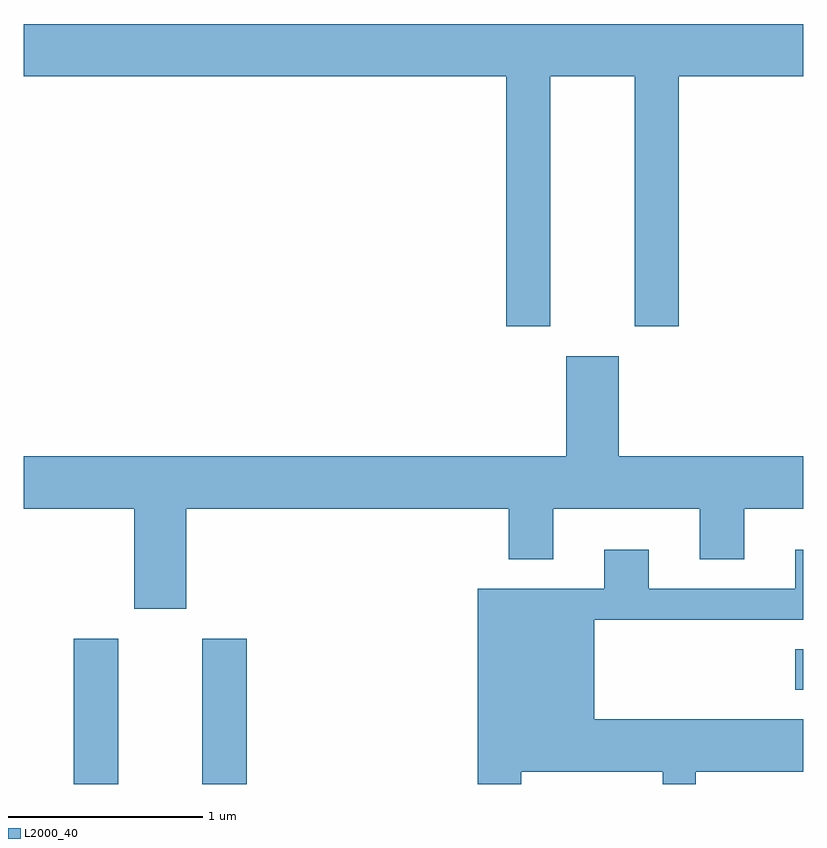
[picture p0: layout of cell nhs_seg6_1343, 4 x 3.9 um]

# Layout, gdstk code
import gdstk
lib = gdstk.Library(unit=1e-6, precision=1e-09)
def R(c, l, rs):  # rectangles x0, y0, x1, y1
    for r in rs: c.add(gdstk.rectangle(r[:2], r[2:], *l))
def P(c, l, *ps):  # polygons
    for p in ps: c.add(gdstk.Polygon(p, *l))
L2000_40 = (2000, 40)

nhs_seg6_1343 = lib.new_cell('nhs_seg6_1343')
R(nhs_seg6_1343, L2000_40, [(225.866,1564.162,226.094,1564.909), (226.526,1564.162,226.754,1564.909), (229.571,1564.646,229.611,1564.854)])
P(nhs_seg6_1343, L2000_40, [(228.314,1567.796),(228.746,1567.796),(228.746,1566.511),(228.974,1566.511),(228.974,1567.796),(229.611,1567.796),(229.611,1568.064),(225.611,1568.064),(225.611,1567.796),(228.086,1567.796),(228.086,1566.511),(228.314,1566.511)],
  [(226.444,1565.576),(228.101,1565.576),(228.101,1565.316),(228.329,1565.316),(228.329,1565.576),(229.081,1565.576),(229.081,1565.316),(229.309,1565.316),(229.309,1565.576),(229.611,1565.576),(229.611,1565.844),(228.664,1565.844),(228.664,1566.359),(228.396,1566.359),(228.396,1565.844),(225.611,1565.844),(225.611,1565.576),(226.176,1565.576),(226.176,1565.061),(226.444,1565.061)],
  [(228.164,1564.226),(228.891,1564.226),(228.891,1564.162),(229.059,1564.162),(229.059,1564.226),(229.611,1564.226),(229.611,1564.494),(228.539,1564.494),(228.539,1565.006),(229.611,1565.006),(229.611,1565.364),(229.571,1565.364),(229.571,1565.164),(228.819,1565.164),(228.819,1565.364),(228.591,1565.364),(228.591,1565.164),(227.941,1565.164),(227.941,1564.162),(228.164,1564.162)])

lib.write_gds('nhs_seg6_1343.gds')
